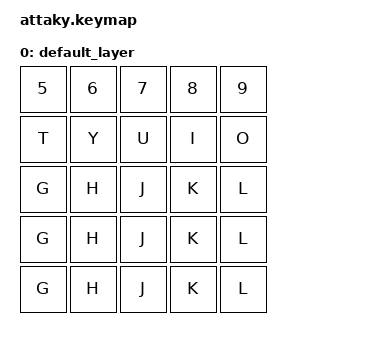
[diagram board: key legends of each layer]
#include <behaviors.dtsi>
#include <dt-bindings/zmk/keys.h>

/ {
    keymap {
        compatible = "zmk,keymap";
        default_layer {
            bindings = <

                &kp 5     &kp 6     &kp 7     &kp 8     &kp 9
                &kp T     &kp Y     &kp U     &kp I     &kp O
                &kp G     &kp H     &kp J     &kp K     &kp L
                 &kp G     &kp H     &kp J     &kp K     &kp L
                &kp G     &kp H     &kp J     &kp K     &kp L
            >;
        };
    };
};
